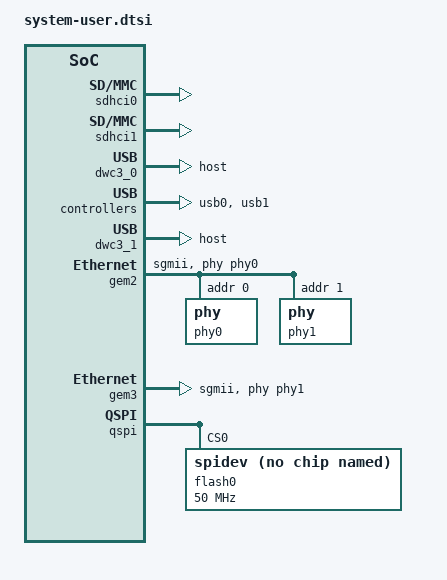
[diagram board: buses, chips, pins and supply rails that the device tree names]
/include/ "system-conf.dtsi"
/ {
	dptx@80070000{
		compatible = "vendor,dp_tx_driver";
		interrupt-names = "dptxss_dp_irq";
		interrupt-parent = <&gic>;
		interrupts = <0 104 4>;
	};
	
	dptx@80072000{
		compatible = "vendor,dp_tx_driver_1";
		interrupt-names = "dptxss_dp_irq";
		interrupt-parent = <&gic>;
		interrupts = <0 105 4>;
	};
	fpga: fpga@00000000{
		compatible = "vendor,zynq_driver";
		#address-cells = <1>;
		#size-cells = <0>;
	};
	cdmatest_1: cdmatest@1 {
		compatible ="xlnx,axi-cdma-test-1.00.a";
		dmas = <&axi_cdma_0 0>;
		dma-names = "cdma";
	} ;
       dprx:dprx@80074000{
                compatible = "vendor,dp_rx_driver";
                interrupt-names = "dprxss_dp_irq";
                interrupt-parent = <&gic>;
                interrupts = <0 108 4>;
        };   
chosen {
		bootargs = "earlycon console=ttyPS0,115200 clk_ignore_unused root=/dev/mmcblk0p2 rw rootwait quiet  cpuidle.off=1";
		stdout-path = "serial0:115200n8";	
      };	
	

	
};

&sdhci0 {
	status = "okay";
	no-1-8-v;
};


&sdhci1 {
	status = "okay";
	no-1-8-v;
	disable-wp;
};

&dwc3_0 {
  status = "okay";
  dr_mode = "host";
  //snps,dis_u3_susphy_quirk;
};
 
&usb0 {
    status = "okay";
};

/* ULPI SMSC USB3320 */
&usb1 {
    status = "okay";
};

&dwc3_1 {
	status = "okay";
	dr_mode = "host";
	//snps,usb3_lpm_capable;
	//phy-names = "usb3-phy";
	//phys = <&lane2 PHY_TYPE_USB3 0 2 26000000>;
};


&gem2 {
	status = "okay";
	phy-handle = <&phy0>;
        phy-mode = "sgmii";

        phy0: phy@0{		
                     reg = <0>;
                };
                
        phy1: phy@1{		
                 reg = <1>;
            };	
      
};

&gem3 {
   
    status = "okay";
	phy-handle = <&phy1>;
	phy-mode = "sgmii";

   

};

&lvds_clock{
        clock-output-names = "clk_out1","clk_out2","clk_out3","clk_out4";
        status = "okay";
};

&mipi_dsi_clock{
        clock-output-names = "clk_out1";
        status = "okay";
};

&spi_clock{
	clock-output-names =  "clk_out1";
        status = "okay";
};

&vid_clock{
	clock-output-names =  "clk_out1","clk_out2","clk_out3";
        status = "okay";
};

&ttl_clock{
	clock-output-names =  "clk_out1","clk_out2";
        status = "okay";
};

&axi_cdma_0 {
	status = "okay";
	dma-coherent;
};


&qspi {
	status = "okay";
	spi-rx-bus-width = <4>;
	spi-tx-bus-width = <4>;
	#address-cells = <1>;
	#size-cells = <0>;	
	flash0: flash@0 { 
		spi-rx-bus-width = <4>;
		spi-tx-bus-width = <4>;
		compatible = "spidev";
		//compatible = "w25q128","winbond,w25q128";
		reg = <0x0>;
		#address-cells = <1>;
		#size-cells = <1>;
		spi-max-frequency = <50000000>;
	};
};


